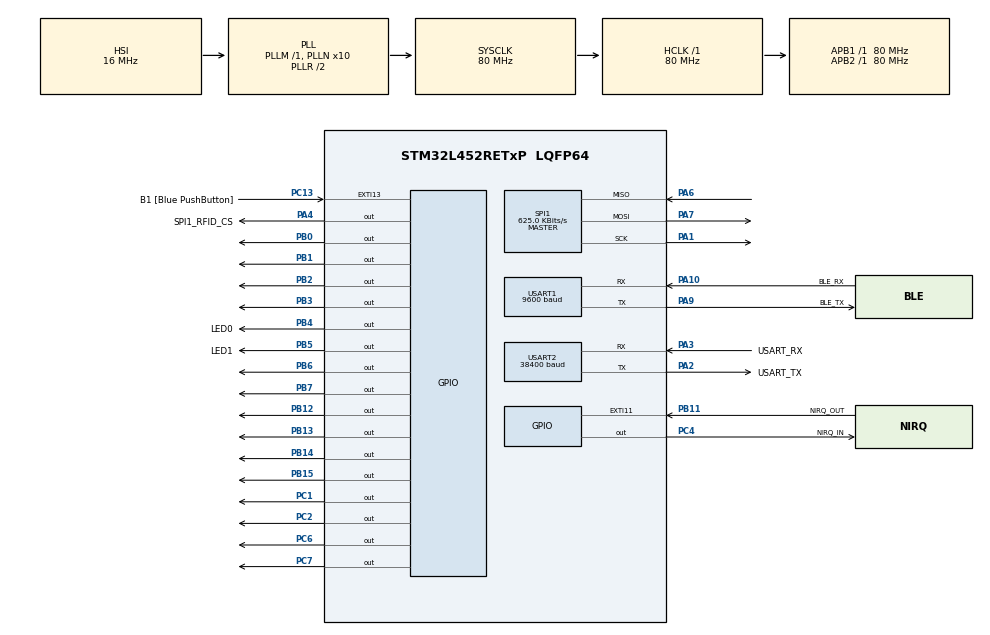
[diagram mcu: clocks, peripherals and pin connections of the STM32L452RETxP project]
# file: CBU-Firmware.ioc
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ADC1.Channel-0\#ChannelRegularConversion=ADC_CHANNEL_VBAT
ADC1.ClockPrescaler=ADC_CLOCK_ASYNC_DIV256
ADC1.ContinuousConvMode=ENABLE
ADC1.DMAContinuousRequests=ENABLE
ADC1.NbrOfConversionFlag=1
ADC1.OffsetNumber-0\#ChannelRegularConversion=ADC_OFFSET_NONE
ADC1.Rank-0\#ChannelRegularConversion=1
ADC1.SamplingTime-0\#ChannelRegularConversion=ADC_SAMPLETIME_2CYCLES_5
ADC1.master=1
Dma.ADC1.0.Direction=DMA_PERIPH_TO_MEMORY
Dma.ADC1.0.Instance=DMA1_Channel1
Dma.ADC1.0.MemDataAlignment=DMA_MDATAALIGN_HALFWORD
Dma.ADC1.0.MemInc=DMA_MINC_ENABLE
Dma.ADC1.0.Mode=DMA_CIRCULAR
Dma.ADC1.0.PeriphDataAlignment=DMA_PDATAALIGN_HALFWORD
Dma.ADC1.0.PeriphInc=DMA_PINC_DISABLE
Dma.ADC1.0.Priority=DMA_PRIORITY_LOW
Dma.Request0=ADC1
Dma.Request1=USART1_RX
Dma.Request2=USART1_TX
Dma.USART1_RX.1.Direction=DMA_PERIPH_TO_MEMORY
Dma.USART1_RX.1.Instance=DMA1_Channel5
Dma.USART1_RX.1.MemDataAlignment=DMA_MDATAALIGN_BYTE
Dma.USART1_RX.1.MemInc=DMA_MINC_ENABLE
Dma.USART1_RX.1.Mode=DMA_NORMAL
Dma.USART1_RX.1.PeriphDataAlignment=DMA_PDATAALIGN_BYTE
Dma.USART1_RX.1.PeriphInc=DMA_PINC_DISABLE
Dma.USART1_RX.1.Priority=DMA_PRIORITY_HIGH
Dma.USART1_TX.2.Direction=DMA_MEMORY_TO_PERIPH
Dma.USART1_TX.2.Instance=DMA2_Channel6
Dma.USART1_TX.2.MemDataAlignment=DMA_MDATAALIGN_BYTE
Dma.USART1_TX.2.MemInc=DMA_MINC_ENABLE
Dma.USART1_TX.2.Mode=DMA_NORMAL
Dma.USART1_TX.2.PeriphDataAlignment=DMA_PDATAALIGN_BYTE
Dma.USART1_TX.2.PeriphInc=DMA_PINC_DISABLE
Dma.USART1_TX.2.Priority=DMA_PRIORITY_HIGH
FREERTOS.BinarySemaphores01=BLESemaphore,Dynamic,NULL
FREERTOS.Queues01=xRFIDEventQueue,16,RFIDEvent_t,0,Dynamic,NULL,NULL
FREERTOS.Tasks01=BluetoothTXRX_T,24,512,StartBluetoothTask,Default,NULL,Dynamic,NULL,NULL;readRFIDTask,22,256,StartRFIDTask,Default,NULL,Dynamic,NULL,NULL;readBatteryVolt,8,128,StartBatteryTask,Default,NULL,Dynamic,NULL,NULL
FREERTOS.Timers01=RFIDTimeout,RFIDTimeoutCallback,osTimerPeriodic,Default,NULL,Dynamic,NULL
FREERTOS.configENABLE_FPU=0
FREERTOS.configTOTAL_HEAP_SIZE=5000
FREERTOS.configUSE_NEWLIB_REENTRANT=1
Mcu.Family=STM32L4
Mcu.Name=STM32L452RETxP
Mcu.Package=LQFP64
NVIC.DMA1_Channel1_IRQn=true\:6\:0\:true\:false\:true\:true\:false\:true\:true
NVIC.DMA1_Channel5_IRQn=true\:6\:0\:true\:false\:true\:true\:false\:true\:true
NVIC.DMA2_Channel6_IRQn=true\:5\:0\:false\:false\:true\:true\:false\:true\:true
NVIC.EXTI15_10_IRQn=true\:6\:0\:true\:false\:true\:true\:true\:true\:true
NVIC.PriorityGroup=NVIC_PRIORITYGROUP_4
NVIC.USART1_IRQn=true\:6\:0\:true\:false\:true\:true\:true\:true\:true
PA1.GPIO_PuPd=GPIO_NOPULL
PA1.Mode=Full_Duplex_Master
PA1.Signal=SPI1_SCK
PA10.GPIO_Label=BLE_RX
PA10.Mode=Asynchronous
PA10.Signal=USART1_RX
PA13\ (JTMS/SWDIO).GPIO_Label=TMS
PA13\ (JTMS/SWDIO).Mode=Serial_Wire
PA13\ (JTMS/SWDIO).Signal=SYS_JTMS-SWDIO
PA14\ (JTCK/SWCLK).GPIO_Label=TCK
PA14\ (JTCK/SWCLK).Mode=Serial_Wire
PA14\ (JTCK/SWCLK).Signal=SYS_JTCK-SWCLK
PA2.GPIO_Label=USART_TX
PA2.GPIO_Mode=GPIO_MODE_AF_PP
PA2.GPIO_PuPd=GPIO_NOPULL
PA2.GPIO_Speed=GPIO_SPEED_FREQ_VERY_HIGH
PA2.Mode=Asynchronous
PA2.Signal=USART2_TX
PA3.GPIO_Label=USART_RX
PA3.GPIO_Mode=GPIO_MODE_AF_PP
PA3.GPIO_PuPd=GPIO_NOPULL
PA3.GPIO_Speed=GPIO_SPEED_FREQ_VERY_HIGH
PA3.Mode=Asynchronous
PA3.Signal=USART2_RX
PA4.GPIO_Label=SPI1_RFID_CS
PA4.GPIO_PuPd=GPIO_PULLUP
PA4.GPIO_Speed=GPIO_SPEED_FREQ_VERY_HIGH
PA4.PinState=GPIO_PIN_SET
PA4.Signal=GPIO_Output
PA6.GPIO_PuPd=GPIO_NOPULL
PA6.Mode=Full_Duplex_Master
PA6.Signal=SPI1_MISO
PA7.GPIO_PuPd=GPIO_NOPULL
PA7.Mode=Full_Duplex_Master
PA7.Signal=SPI1_MOSI
PA9.GPIO_Label=BLE_TX
PA9.Mode=Asynchronous
PA9.Signal=USART1_TX
PB0.Signal=GPIO_Output
PB1.Signal=GPIO_Output
PB11.GPIO_Label=NIRQ_OUT
PB11.GPIO_ModeDefaultEXTI=GPIO_MODE_IT_FALLING
PB11.GPIO_PuPd=GPIO_PULLUP
PB11.Signal=GPXTI11
PB12.Signal=GPIO_Output
PB13.Signal=GPIO_Output
PB14.Signal=GPIO_Output
PB15.Signal=GPIO_Output
PB2.Signal=GPIO_Output
PB3\ (JTDO/TRACESWO).Signal=GPIO_Output
PB4\ (NJTRST).GPIO_Label=LED0
PB4\ (NJTRST).Signal=GPIO_Output
PB5.GPIO_Label=LED1
PB5.Signal=GPIO_Output
PB6.Signal=GPIO_Output
PB7.Signal=GPIO_Output
PC1.Signal=GPIO_Output
PC13.GPIO_Label=B1 [Blue PushButton]
PC13.GPIO_ModeDefaultEXTI=GPIO_MODE_IT_FALLING
PC13.GPIO_PuPd=GPIO_NOPULL
PC13.Signal=GPXTI13
PC14-OSC32_IN\ (PC14).Mode=LSE-External-Oscillator
PC14-OSC32_IN\ (PC14).Signal=RCC_OSC32_IN
PC15-OSC32_OUT\ (PC15).Mode=LSE-External-Oscillator
PC15-OSC32_OUT\ (PC15).Signal=RCC_OSC32_OUT
PC2.Signal=GPIO_Output
PC4.GPIO_Label=NIRQ_IN
PC4.GPIO_PuPd=GPIO_PULLUP
PC4.Signal=GPIO_Output
PC6.Signal=GPIO_Output
PC7.Signal=GPIO_Output
ProjectManager.HeapSize=0x200
ProjectManager.StackSize=0x400
ProjectManager.TargetToolchain=STM32CubeIDE
RCC.ADCFreq_Value=64000000
RCC.AHBFreq_Value=80000000
RCC.APB1Freq_Value=80000000
RCC.APB1TimFreq_Value=80000000
RCC.APB2Freq_Value=80000000
RCC.APB2TimFreq_Value=80000000
RCC.CortexFreq_Value=80000000
RCC.HCLKFreq_Value=80000000
RCC.HSE_VALUE=8000000
RCC.HSI48_VALUE=48000000
RCC.HSI_VALUE=16000000
RCC.MSI_VALUE=4000000
RCC.PLLN=10
RCC.PLLSourceVirtual=RCC_PLLSOURCE_HSI
RCC.PREFETCH_ENABLE=1
RCC.SYSCLKFreq_VALUE=80000000
RCC.SYSCLKSource=RCC_SYSCLKSOURCE_PLLCLK
RCC.USBFreq_Value=64000000
RCC.VCOOutputFreq_Value=160000000
SPI1.BaudRatePrescaler=SPI_BAUDRATEPRESCALER_128
SPI1.CalculateBaudRate=625.0 KBits/s
SPI1.DataSize=SPI_DATASIZE_8BIT
SPI1.Direction=SPI_DIRECTION_2LINES
SPI1.Mode=SPI_MODE_MASTER
SPI1.VirtualType=VM_MASTER
USART1.BaudRate=9600
USART1.VirtualMode-Asynchronous=VM_ASYNC
USART2.BaudRate=38400
USART2.VirtualMode-Asynchronous=VM_ASYNC
VP_ADC1_Vbat_Input.Mode=IN-Vbat
VP_FREERTOS_VS_CMSIS_V2.Mode=CMSIS_V2
board=NUCLEO-L452RE-P

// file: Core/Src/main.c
/* USER CODE BEGIN Header */
/**
 ******************************************************************************
 * @file           : main.c
 * @brief          : Main program body
 ******************************************************************************
 * @attention
 *
 * Copyright (c) 2023 STMicroelectronics.
 * All rights reserved.
 *
 * This software is licensed under terms that can be found in the LICENSE file
 * in the root directory of this software component.
 * If no LICENSE file comes with this software, it is provided AS-IS.
 *
 ******************************************************************************
 */
/* USER CODE END Header */
#include "main.h"
#include "cmsis_os.h"

/* USER CODE BEGIN Includes */
#include "bluetooth.h"
#include "reader.h"
#include <stdbool.h>
#include "MaizeJSON.h"
#include "st25r95.h"
#include "string.h"

#include "queue.h"

#include "stm32l4xx_hal.h"
/* USER CODE END Includes */

/* USER CODE BEGIN PD */

#define RFID_READ_PERIOD_MS 5000
#define BROADCAST_PERIOD_MS 1000
#define BAT_READ_PERIOD_MS 30000
#define VBAT_CONVERSION_FACTOR (float) 0.0024169921875 // VBat/3 = rawADC_IN18 * VREF / 2^12

#define RX_BUFF_SIZE 256			// TODO: change to appropriate size
#define TX_BUFF_SIZE 256			// TODO: change to appropriate size

#define BLE_CS_PORT GPIOA
#define BLE_CS_PIN GPIO_PIN_0

#define ADDR_PORT GPIOA
#define ADDR_PIN GPIO_PIN_1

#define SDU_NAME "SDU"

#ifndef configASSERT
	#define configASSERT ( x )     if( ( x ) == 0 ) { taskDISABLE_INTERRUPTS(); for( ;; ); }
#endif
/* USER CODE END PD */

ADC_HandleTypeDef hadc1;
DMA_HandleTypeDef hdma_adc1;

SPI_HandleTypeDef hspi1;

UART_HandleTypeDef huart1;
UART_HandleTypeDef huart2;
DMA_HandleTypeDef hdma_usart1_rx;
DMA_HandleTypeDef hdma_usart1_tx;

/* Definitions for BluetoothTXRX_T */
osThreadId_t BluetoothTXRX_THandle;
const osThreadAttr_t BluetoothTXRX_T_attributes = {
  .name = "BluetoothTXRX_T",
  .stack_size = 512 * 4,
  .priority = (osPriority_t) osPriorityNormal,
};
/* Definitions for readRFIDTask */
osThreadId_t readRFIDTaskHandle;
const osThreadAttr_t readRFIDTask_attributes = {
  .name = "readRFIDTask",
  .stack_size = 256 * 4,
  .priority = (osPriority_t) osPriorityBelowNormal6,
};
/* Definitions for readBatteryVolt */
osThreadId_t readBatteryVoltHandle;
const osThreadAttr_t readBatteryVolt_attributes = {
  .name = "readBatteryVolt",
  .stack_size = 128 * 4,
  .priority = (osPriority_t) osPriorityLow,
};
/* Definitions for xRFIDEventQueue */
osMessageQueueId_t xRFIDEventQueueHandle;
const osMessageQueueAttr_t xRFIDEventQueue_attributes = {
  .name = "xRFIDEventQueue"
};
/* Definitions for RFIDTimeout */
osTimerId_t RFIDTimeoutHandle;
const osTimerAttr_t RFIDTimeout_attributes = {
  .name = "RFIDTimeout"
};
/* Definitions for BLESemaphore */
osSemaphoreId_t BLESemaphoreHandle;
const osSemaphoreAttr_t BLESemaphore_attributes = {
  .name = "BLESemaphore"
};
/* USER CODE BEGIN PV */
BroadcastPacket broadcastPacket = { 6, 0, 0 };

char CBU_ID[4] = "CBUx";

BLE_interface ble;

uint8_t rx_buffer[RX_BUFF_SIZE] = { 0 };
uint8_t tx_buffer[TX_BUFF_SIZE] = { 0 };

GameInfo gameInfo = { { 0, 0 }, { 0, 0 }, 0 };

const int TIMER_PERIOD_MS = 250;

int DMA_RX = 0;

const RFIDEvent_t readEvent = EVENT_READ;
const RFIDEvent_t timeoutEvent = EVENT_TIMEOUT;

extern const uint8_t ANT_POINTS_MAP[12];

/* USER CODE END PV */

void SystemClock_Config(void);
static void MX_GPIO_Init(void);
static void MX_DMA_Init(void);
static void MX_USART2_UART_Init(void);
static void MX_USART1_UART_Init(void);
static void MX_ADC1_Init(void);
static void MX_SPI1_Init(void);
void StartBluetoothTask(void *argument);
void StartRFIDTask(void *argument);
void StartBatteryTask(void *argument);
void RFIDTimeoutCallback(void *argument);

/* USER CODE BEGIN 0 */

// UPDATE ALL THESE TO INCLUDE DELAYUNTIL or OSDELAY
volatile st25r95_handle reader_handler;

/**
 * channel index is 1 indexed, 1-12
 */
uint8_t select_rfid_channel(uint8_t channel_index) {

	if (channel_index < 1 || channel_index > 12) {
		return 1;  // Invalid switch index
	}

	// Set U2.4
	uint8_t switch_refdes = 0;  // U2.X for 1st layer switch
	if (channel_index <= 4) {
		HAL_GPIO_WritePin(SEL6_GPIO_Port, SEL6_Pin, 0);
		HAL_GPIO_WritePin(SEL7_GPIO_Port, SEL7_Pin, 0);
		switch_refdes = 1;
	} else if (channel_index <= 8) {
		HAL_GPIO_WritePin(SEL6_GPIO_Port, SEL6_Pin, 1);
		HAL_GPIO_WritePin(SEL7_GPIO_Port, SEL7_Pin, 1);
		switch_refdes = 2;
	} else { // if channel_index <= 12
		HAL_GPIO_WritePin(SEL6_GPIO_Port, SEL6_Pin, 1);
		HAL_GPIO_WritePin(SEL7_GPIO_Port, SEL7_Pin, 0);
		switch_refdes = 3;
	}

	// The pattern on each 2nd layer switch is the same, use multiplexing
	uint8_t V0 = 0;
	uint8_t V1 = 0;
	if (channel_index % 4 == 0) {  // 4, 8, 12
		V0 = 1;
		V1 = 0;
	} else if (channel_index % 4 == 1) {  // 1, 5, 9
		V0 = 0;
		V1 = 0;
	} else if (channel_index % 4 == 2) {  // 2, 6, 10
		V0 = 0;
		V1 = 1;
	} else {  // if channel_index % 4 == 3  // 3, 7, 11
		V0 = 1;
		V1 = 1;
	}

	// The other switches' V0/V1 are don't care, but set them to 0 anyways
	switch (switch_refdes) {
	case 1:
		HAL_GPIO_WritePin(SEL0_GPIO_Port, SEL0_Pin, V0);
		HAL_GPIO_WritePin(SEL1_GPIO_Port, SEL1_Pin, V1);
		HAL_GPIO_WritePin(SEL2_GPIO_Port, SEL2_Pin, 0);
		HAL_GPIO_WritePin(SEL3_GPIO_Port, SEL3_Pin, 0);
		HAL_GPIO_WritePin(SEL4_GPIO_Port, SEL4_Pin, 0);
		HAL_GPIO_WritePin(SEL5_GPIO_Port, SEL5_Pin, 0);
		break;
	case 2:
		HAL_GPIO_WritePin(SEL0_GPIO_Port, SEL0_Pin, 0);
		HAL_GPIO_WritePin(SEL1_GPIO_Port, SEL1_Pin, 0);
		HAL_GPIO_WritePin(SEL2_GPIO_Port, SEL2_Pin, V0);
		HAL_GPIO_WritePin(SEL3_GPIO_Port, SEL3_Pin, V1);
		HAL_GPIO_WritePin(SEL4_GPIO_Port, SEL4_Pin, 0);
		HAL_GPIO_WritePin(SEL5_GPIO_Port, SEL5_Pin, 0);
		break;
	case 3:
		HAL_GPIO_WritePin(SEL0_GPIO_Port, SEL0_Pin, 0);
		HAL_GPIO_WritePin(SEL1_GPIO_Port, SEL1_Pin, 0);
		HAL_GPIO_WritePin(SEL2_GPIO_Port, SEL2_Pin, 0);
		HAL_GPIO_WritePin(SEL3_GPIO_Port, SEL3_Pin, 0);
		HAL_GPIO_WritePin(SEL4_GPIO_Port, SEL4_Pin, V0);
		HAL_GPIO_WritePin(SEL5_GPIO_Port, SEL5_Pin, V1);
		break;
	default:
		break;
	}

	reader_handler.ant_channel = channel_index;
	return 0;
}

void reader_irq_pulse() {

	HAL_GPIO_WritePin(RFID_NIRQ_IN_PORT, RFID_NIRQ_IN_PIN, GPIO_PIN_RESET);
	vTaskDelay(pdMS_TO_TICKS(1)); // delay 1 ms
	HAL_GPIO_WritePin(RFID_NIRQ_IN_PORT, RFID_NIRQ_IN_PIN, GPIO_PIN_SET);
	vTaskDelay(pdMS_TO_TICKS(100)); // delay 100 ms

}

void reader_nss(uint8_t enable) {
	HAL_GPIO_WritePin(RFID_CS_PORT, RFID_CS_PIN,
			enable ? GPIO_PIN_RESET : GPIO_PIN_SET);
}

int reader_tx(uint8_t *data, size_t len) {
	int ret = HAL_SPI_Transmit(&hspi1, data, len, HAL_MAX_DELAY);
	return ret;
}

int reader_rx(uint8_t *data, size_t len) {
	int ret = HAL_SPI_Receive(&hspi1, data, len, HAL_MAX_DELAY);
	return ret;
}

BaseType_t xHigherPriorityTaskWoken;

void HAL_GPIO_EXTI_Callback(uint16_t pin) {
	static int errorCounter = 0;

    /* We have not woken a task at the start of the ISR. */
    xHigherPriorityTaskWoken = pdFALSE;

	if (pin == RFID_NIRQ_OUT_PIN) {
		reader_handler.irq_flag = 1;
	}
}

void st25_card_callback(uint8_t *uid) {
	;
}

void HAL_UART_RxHalfCpltCallback(UART_HandleTypeDef *huart)
{
  HAL_GPIO_TogglePin (LED1_GPIO_Port, LED1_Pin);  // toggle LED1
}

void HAL_UART_RxCpltCallback(UART_HandleTypeDef *huart)
{
  HAL_UART_Receive_DMA(&huart1, rx_buffer, RX_BUFF_SIZE - 1);

  DMA_RX = 1;
}

/* USER CODE END 0 */

int main(void)
{

  /* MCU Configuration--------------------------------------------------------*/

  /* Reset of all peripherals, Initializes the Flash interface and the Systick. */
	HAL_Init();

  /* Configure the system clock */
  SystemClock_Config();

  /* Initialize all configured peripherals */
  MX_GPIO_Init();
  MX_DMA_Init();
  MX_USART2_UART_Init();
  MX_USART1_UART_Init();
  MX_ADC1_Init();
  MX_SPI1_Init();
  /* USER CODE BEGIN 2 */

  /* Setup all protocol */
  reader_handler.protocol = ST25_PROTOCOL_15693;
  reader_handler.tx_speed = ST25_26K_106K; // datarate
  reader_handler.rx_speed = ST25_26K_106K; // same for up and downlinks
  reader_handler.timerw = 0x58;
  reader_handler.ARC = 0xD1;
  reader_handler.irq_flag = 0;

  /* Bind BSP Functions */
  reader_handler.nss = reader_nss;
  reader_handler.tx = reader_tx;
  reader_handler.rx = reader_rx;
  reader_handler.irq_pulse = reader_irq_pulse;
  reader_handler.callback = st25_card_callback;

  BeanBag_setup();

  HAL_UART_Receive_DMA(&huart1, rx_buffer, RX_BUFF_SIZE - 1);

  MX_USART1_UART_Init();

  /* USER CODE END 2 */

  /* Init scheduler */
  osKernelInitialize();

  /* Create the semaphores(s) */
  /* creation of BLESemaphore */
  BLESemaphoreHandle = osSemaphoreNew(1, 1, &BLESemaphore_attributes);

  /* Create the timer(s) */
  /* creation of RFIDTimeout */
  RFIDTimeoutHandle = osTimerNew(RFIDTimeoutCallback, osTimerPeriodic, NULL, &RFIDTimeout_attributes);

  /* Create the queue(s) */
  /* creation of xRFIDEventQueue */
  xRFIDEventQueueHandle = osMessageQueueNew (16, sizeof(RFIDEvent_t), &xRFIDEventQueue_attributes);

  /* Create the thread(s) */
  /* creation of BluetoothTXRX_T */
  BluetoothTXRX_THandle = osThreadNew(StartBluetoothTask, NULL, &BluetoothTXRX_T_attributes);

  /* creation of readRFIDTask */
  readRFIDTaskHandle = osThreadNew(StartRFIDTask, NULL, &readRFIDTask_attributes);

  /* creation of readBatteryVolt */
  readBatteryVoltHandle = osThreadNew(StartBatteryTask, NULL, &readBatteryVolt_attributes);

  /* USER CODE BEGIN RTOS_EVENTS */
	/* add events, ... */

	if (HAL_GPIO_ReadPin(ADDR_PORT, ADDR_PIN) == GPIO_PIN_SET) {
		CBU_ID[3] = '1';
	} else {
		CBU_ID[3] = '0';
	}

	ble.huart = &huart1;
	ble.cs_base = BLE_CS_PORT;
	ble.cs_pin = BLE_CS_PIN;
	ble.name = CBU_ID;

  /* USER CODE END RTOS_EVENTS */

  /* Start scheduler */
  osKernelStart();

  /* We should never get here as control is now taken by the scheduler */
  /* Infinite loop */
	while (1) {

	}
}

void SystemClock_Config(void)
{
  RCC_OscInitTypeDef RCC_OscInitStruct = {0};
  RCC_ClkInitTypeDef RCC_ClkInitStruct = {0};

  /** Configure the main internal regulator output voltage
  */
  if (HAL_PWREx_ControlVoltageScaling(PWR_REGULATOR_VOLTAGE_SCALE1) != HAL_OK)
  {
    Error_Handler();
  }

  /** Initializes the RCC Oscillators according to the specified parameters
  * in the RCC_OscInitTypeDef structure.
  */
  RCC_OscInitStruct.OscillatorType = RCC_OSCILLATORTYPE_HSI;
  RCC_OscInitStruct.HSIState = RCC_HSI_ON;
  RCC_OscInitStruct.HSICalibrationValue = RCC_HSICALIBRATION_DEFAULT;
  RCC_OscInitStruct.PLL.PLLState = RCC_PLL_ON;
  RCC_OscInitStruct.PLL.PLLSource = RCC_PLLSOURCE_HSI;
  RCC_OscInitStruct.PLL.PLLM = 1;
  RCC_OscInitStruct.PLL.PLLN = 10;
  RCC_OscInitStruct.PLL.PLLP = RCC_PLLP_DIV7;
  RCC_OscInitStruct.PLL.PLLQ = RCC_PLLQ_DIV2;
  RCC_OscInitStruct.PLL.PLLR = RCC_PLLR_DIV2;
  if (HAL_RCC_OscConfig(&RCC_OscInitStruct) != HAL_OK)
  {
    Error_Handler();
  }

  /** Initializes the CPU, AHB and APB buses clocks
  */
  RCC_ClkInitStruct.ClockType = RCC_CLOCKTYPE_HCLK|RCC_CLOCKTYPE_SYSCLK
                              |RCC_CLOCKTYPE_PCLK1|RCC_CLOCKTYPE_PCLK2;
  RCC_ClkInitStruct.SYSCLKSource = RCC_SYSCLKSOURCE_PLLCLK;
  RCC_ClkInitStruct.AHBCLKDivider = RCC_SYSCLK_DIV1;
  RCC_ClkInitStruct.APB1CLKDivider = RCC_HCLK_DIV1;
  RCC_ClkInitStruct.APB2CLKDivider = RCC_HCLK_DIV1;

  if (HAL_RCC_ClockConfig(&RCC_ClkInitStruct, FLASH_LATENCY_4) != HAL_OK)
  {
    Error_Handler();
  }
}

static void MX_ADC1_Init(void)
{

  ADC_ChannelConfTypeDef sConfig = {0};

  /** Common config
  */
  hadc1.Instance = ADC1;
  hadc1.Init.ClockPrescaler = ADC_CLOCK_ASYNC_DIV256;
  hadc1.Init.Resolution = ADC_RESOLUTION_12B;
  hadc1.Init.DataAlign = ADC_DATAALIGN_RIGHT;
  hadc1.Init.ScanConvMode = ADC_SCAN_DISABLE;
  hadc1.Init.EOCSelection = ADC_EOC_SINGLE_CONV;
  hadc1.Init.LowPowerAutoWait = DISABLE;
  hadc1.Init.ContinuousConvMode = ENABLE;
  hadc1.Init.NbrOfConversion = 1;
  hadc1.Init.DiscontinuousConvMode = DISABLE;
  hadc1.Init.ExternalTrigConv = ADC_SOFTWARE_START;
  hadc1.Init.ExternalTrigConvEdge = ADC_EXTERNALTRIGCONVEDGE_NONE;
  hadc1.Init.DMAContinuousRequests = ENABLE;
  hadc1.Init.Overrun = ADC_OVR_DATA_PRESERVED;
  hadc1.Init.OversamplingMode = DISABLE;
  hadc1.Init.DFSDMConfig = ADC_DFSDM_MODE_ENABLE;
  if (HAL_ADC_Init(&hadc1) != HAL_OK)
  {
    Error_Handler();
  }

  /** Configure Regular Channel
  */
  sConfig.Channel = ADC_CHANNEL_VBAT;
  sConfig.Rank = ADC_REGULAR_RANK_1;
  sConfig.SamplingTime = ADC_SAMPLETIME_2CYCLES_5;
  sConfig.SingleDiff = ADC_SINGLE_ENDED;
  sConfig.OffsetNumber = ADC_OFFSET_NONE;
  sConfig.Offset = 0;
  if (HAL_ADC_ConfigChannel(&hadc1, &sConfig) != HAL_OK)
  {
    Error_Handler();
  }

}

static void MX_SPI1_Init(void)
{

  /* SPI1 parameter configuration*/
  hspi1.Instance = SPI1;
  hspi1.Init.Mode = SPI_MODE_MASTER;
  hspi1.Init.Direction = SPI_DIRECTION_2LINES;
  hspi1.Init.DataSize = SPI_DATASIZE_8BIT;
  hspi1.Init.CLKPolarity = SPI_POLARITY_LOW;
  hspi1.Init.CLKPhase = SPI_PHASE_1EDGE;
  hspi1.Init.NSS = SPI_NSS_SOFT;
  hspi1.Init.BaudRatePrescaler = SPI_BAUDRATEPRESCALER_128;
  hspi1.Init.FirstBit = SPI_FIRSTBIT_MSB;
  hspi1.Init.TIMode = SPI_TIMODE_DISABLE;
  hspi1.Init.CRCCalculation = SPI_CRCCALCULATION_DISABLE;
  hspi1.Init.CRCPolynomial = 7;
  hspi1.Init.CRCLength = SPI_CRC_LENGTH_DATASIZE;
  hspi1.Init.NSSPMode = SPI_NSS_PULSE_ENABLE;
  if (HAL_SPI_Init(&hspi1) != HAL_OK)
  {
    Error_Handler();
  }

}

static void MX_USART1_UART_Init(void)
{

  huart1.Instance = USART1;
  huart1.Init.BaudRate = 9600;
  huart1.Init.WordLength = UART_WORDLENGTH_8B;
  huart1.Init.StopBits = UART_STOPBITS_1;
  huart1.Init.Parity = UART_PARITY_NONE;
  huart1.Init.Mode = UART_MODE_TX_RX;
  huart1.Init.HwFlowCtl = UART_HWCONTROL_NONE;
  huart1.Init.OverSampling = UART_OVERSAMPLING_16;
  huart1.Init.OneBitSampling = UART_ONE_BIT_SAMPLE_DISABLE;
  huart1.AdvancedInit.AdvFeatureInit = UART_ADVFEATURE_NO_INIT;
  if (HAL_UART_Init(&huart1) != HAL_OK)
  {
    Error_Handler();
  }

}

static void MX_USART2_UART_Init(void)
{

  huart2.Instance = USART2;
  huart2.Init.BaudRate = 38400;
  huart2.Init.WordLength = UART_WORDLENGTH_8B;
  huart2.Init.StopBits = UART_STOPBITS_1;
  huart2.Init.Parity = UART_PARITY_NONE;
  huart2.Init.Mode = UART_MODE_TX_RX;
  huart2.Init.HwFlowCtl = UART_HWCONTROL_NONE;
  huart2.Init.OverSampling = UART_OVERSAMPLING_16;
  huart2.Init.OneBitSampling = UART_ONE_BIT_SAMPLE_DISABLE;
  huart2.AdvancedInit.AdvFeatureInit = UART_ADVFEATURE_NO_INIT;
  if (HAL_UART_Init(&huart2) != HAL_OK)
  {
    Error_Handler();
  }

}

static void MX_DMA_Init(void)
{

  /* DMA controller clock enable */
  __HAL_RCC_DMA1_CLK_ENABLE();
  __HAL_RCC_DMA2_CLK_ENABLE();

  /* DMA interrupt init */
  /* DMA1_Channel1_IRQn interrupt configuration */
  HAL_NVIC_SetPriority(DMA1_Channel1_IRQn, 6, 0);
  HAL_NVIC_EnableIRQ(DMA1_Channel1_IRQn);
  /* DMA1_Channel5_IRQn interrupt configuration */
  HAL_NVIC_SetPriority(DMA1_Channel5_IRQn, 6, 0);
  HAL_NVIC_EnableIRQ(DMA1_Channel5_IRQn);
  /* DMA2_Channel6_IRQn interrupt configuration */
  HAL_NVIC_SetPriority(DMA2_Channel6_IRQn, 5, 0);
  HAL_NVIC_EnableIRQ(DMA2_Channel6_IRQn);

}

static void MX_GPIO_Init(void)
{
  GPIO_InitTypeDef GPIO_InitStruct = {0};

  /* GPIO Ports Clock Enable */
  __HAL_RCC_GPIOC_CLK_ENABLE();
  __HAL_RCC_GPIOA_CLK_ENABLE();
  __HAL_RCC_GPIOB_CLK_ENABLE();

  /*Configure GPIO pin Output Level */
  HAL_GPIO_WritePin(GPIOC, GPIO_PIN_1|GPIO_PIN_2|NIRQ_IN_Pin|GPIO_PIN_6
                          |GPIO_PIN_7, GPIO_PIN_RESET);

  /*Configure GPIO pin Output Level */
  HAL_GPIO_WritePin(SPI1_RFID_CS_GPIO_Port, SPI1_RFID_CS_Pin, GPIO_PIN_SET);

  /*Configure GPIO pin Output Level */
  HAL_GPIO_WritePin(GPIOB, GPIO_PIN_0|GPIO_PIN_1|GPIO_PIN_2|GPIO_PIN_12
                          |GPIO_PIN_13|GPIO_PIN_14|GPIO_PIN_15|GPIO_PIN_3
                          |LED0_Pin|LED1_Pin|GPIO_PIN_6|GPIO_PIN_7, GPIO_PIN_RESET);

  /*Configure GPIO pin : B1_Pin */
  GPIO_InitStruct.Pin = B1_Pin;
  GPIO_InitStruct.Mode = GPIO_MODE_IT_FALLING;
  GPIO_InitStruct.Pull = GPIO_NOPULL;
  HAL_GPIO_Init(B1_GPIO_Port, &GPIO_InitStruct);

  /*Configure GPIO pins : PC1 PC2 PC6 PC7 */
  GPIO_InitStruct.Pin = GPIO_PIN_1|GPIO_PIN_2|GPIO_PIN_6|GPIO_PIN_7;
  GPIO_InitStruct.Mode = GPIO_MODE_OUTPUT_PP;
  GPIO_InitStruct.Pull = GPIO_NOPULL;
  GPIO_InitStruct.Speed = GPIO_SPEED_FREQ_LOW;
  HAL_GPIO_Init(GPIOC, &GPIO_InitStruct);

  /*Configure GPIO pin : SPI1_RFID_CS_Pin */
  GPIO_InitStruct.Pin = SPI1_RFID_CS_Pin;
  GPIO_InitStruct.Mode = GPIO_MODE_OUTPUT_PP;
  GPIO_InitStruct.Pull = GPIO_PULLUP;
  GPIO_InitStruct.Speed = GPIO_SPEED_FREQ_VERY_HIGH;
  HAL_GPIO_Init(SPI1_RFID_CS_GPIO_Port, &GPIO_InitStruct);

  /*Configure GPIO pin : NIRQ_IN_Pin */
  GPIO_InitStruct.Pin = NIRQ_IN_Pin;
  GPIO_InitStruct.Mode = GPIO_MODE_OUTPUT_PP;
  GPIO_InitStruct.Pull = GPIO_PULLUP;
  GPIO_InitStruct.Speed = GPIO_SPEED_FREQ_LOW;
  HAL_GPIO_Init(NIRQ_IN_GPIO_Port, &GPIO_InitStruct);

  /*Configure GPIO pins : PB0 PB1 PB2 PB12
                           PB13 PB14 PB15 PB3
                           LED0_Pin LED1_Pin PB6 PB7 */
  GPIO_InitStruct.Pin = GPIO_PIN_0|GPIO_PIN_1|GPIO_PIN_2|GPIO_PIN_12
                          |GPIO_PIN_13|GPIO_PIN_14|GPIO_PIN_15|GPIO_PIN_3
                          |LED0_Pin|LED1_Pin|GPIO_PIN_6|GPIO_PIN_7;
  GPIO_InitStruct.Mode = GPIO_MODE_OUTPUT_PP;
  GPIO_InitStruct.Pull = GPIO_NOPULL;
  GPIO_InitStruct.Speed = GPIO_SPEED_FREQ_LOW;
  HAL_GPIO_Init(GPIOB, &GPIO_InitStruct);

  /*Configure GPIO pin : NIRQ_OUT_Pin */
  GPIO_InitStruct.Pin = NIRQ_OUT_Pin;
  GPIO_InitStruct.Mode = GPIO_MODE_IT_FALLING;
  GPIO_InitStruct.Pull = GPIO_PULLUP;
  HAL_GPIO_Init(NIRQ_OUT_GPIO_Port, &GPIO_InitStruct);

  /* EXTI interrupt init*/
  HAL_NVIC_SetPriority(EXTI15_10_IRQn, 6, 0);
  HAL_NVIC_EnableIRQ(EXTI15_10_IRQn);

}

void StartBluetoothTask(void *argument)
{
  /* USER CODE BEGIN 5 */
	/* Infinite loop */

	TickType_t xLastWakeTime;
	const TickType_t period = pdMS_TO_TICKS(BROADCAST_PERIOD_MS);

	xLastWakeTime = xTaskGetTickCount();

	int ret;
	int count = 0;
	memset(rx_buffer, 0, RX_BUFF_SIZE);
	char *json_string = "{\"battery\": 10.56, \"team1d\": 0, \"team2d\": 3} \n";

	float batteryPercentage = 0;

	for (;;)
	 //osDelay(BROADCAST_PERIOD_MS); // temp for commenting out the rest of the task
	 {
		if (DMA_RX != 0) {
			DMA_RX = 0;

			// deserialize packet
			deserializeJSON((char*) rx_buffer, &gameInfo);
			// send reply packet
			//broadcastPacket.redDeltaScore = 2;
			//broadcastPacket.blueDeltaScore = 3;

			// voltage to percentage
			batteryPercentage = broadcastPacket.batteryVoltage - 3.6;
			batteryPercentage /= .024;
			if (batteryPercentage > 100) batteryPercentage = 100;
			if (batteryPercentage < 0) batteryPercentage = 0;

			serializeJSON(&broadcastPacket, (char*) tx_buffer, (uint32_t)batteryPercentage);
			HAL_UART_Transmit_DMA(&huart1, (uint8_t*) tx_buffer, TX_BUFF_SIZE);

		}
		vTaskDelayUntil(&xLastWakeTime, period);
	}
  /* USER CODE END 5 */
}

void StartRFIDTask(void *argument)
{
  /* USER CODE BEGIN StartRFIDTask */
	st25r95_init((st25r95_handle *)&reader_handler);
	st25r95_calibrate((st25r95_handle *)&reader_handler);

	TickType_t xLastWakeTime;
	const TickType_t period = pdMS_TO_TICKS(RFID_READ_PERIOD_MS);

	xLastWakeTime = xTaskGetTickCount();

	uint8_t redRawScore = 0;
	uint8_t blueRawScore = 0;

	uint8_t tx_buf[2];

	st25r95_idle((st25r95_handle *)&reader_handler);

	osTimerStart(RFIDTimeoutHandle, pdMS_TO_TICKS(TIMER_PERIOD_MS));

	/* Infinite loop */
	for (;;)
//	osDelay(RFID_READ_PERIOD_MS); // temp for commenting out the rest of the task
			{
		RFID_readArray(&reader_handler);

		if (ANTICOL_15693) {
			// for each bag
			for (int i = 0; i < NUM_BAGS; i++) {
				if (BagInfo[i].ant_channel > 0) {
					BagStatus[i] = ANT_POINTS_MAP[BagInfo[i].ant_channel - 1];
				}
			}
		}

		calculateRawScore(&redRawScore, false);
		calculateRawScore(&blueRawScore, true); // true to move BagStatus pointer to the Blue section

		broadcastPacket.redDeltaScore = redRawScore;
		broadcastPacket.blueDeltaScore = blueRawScore;

	}
  /* USER CODE END StartRFIDTask */
}

void StartBatteryTask(void *argument)
{
  /* USER CODE BEGIN StartBatteryTask */

	TickType_t xLastWakeTime;
	const TickType_t period = pdMS_TO_TICKS(BAT_READ_PERIOD_MS);

	xLastWakeTime = xTaskGetTickCount();

	uint32_t rawVBat = 0;
	float VBat = 0.0;
	uint32_t VBat_conv = 0;

	HAL_ADCEx_Calibration_Start(&hadc1, ADC_SINGLE_ENDED);

	HAL_ADC_Start_DMA(&hadc1, (uint32_t*) &rawVBat, 1);

	uint8_t tx_buf[4];

	/* Infinite loop */
	for (;;) {

		broadcastPacket.batteryVoltage = (float)rawVBat * VBAT_CONVERSION_FACTOR;

		vTaskDelayUntil(&xLastWakeTime, period);

	}
  /* USER CODE END StartBatteryTask */
}

/* RFIDTimeoutCallback function */
void RFIDTimeoutCallback(void *argument)
{
  /* USER CODE BEGIN RFIDTimeoutCallback */

	reader_handler.timeout_flag = 1;
  /* USER CODE END RFIDTimeoutCallback */
}

void Error_Handler(void)
{
	__disable_irq();
	while (1) {
	}
}
